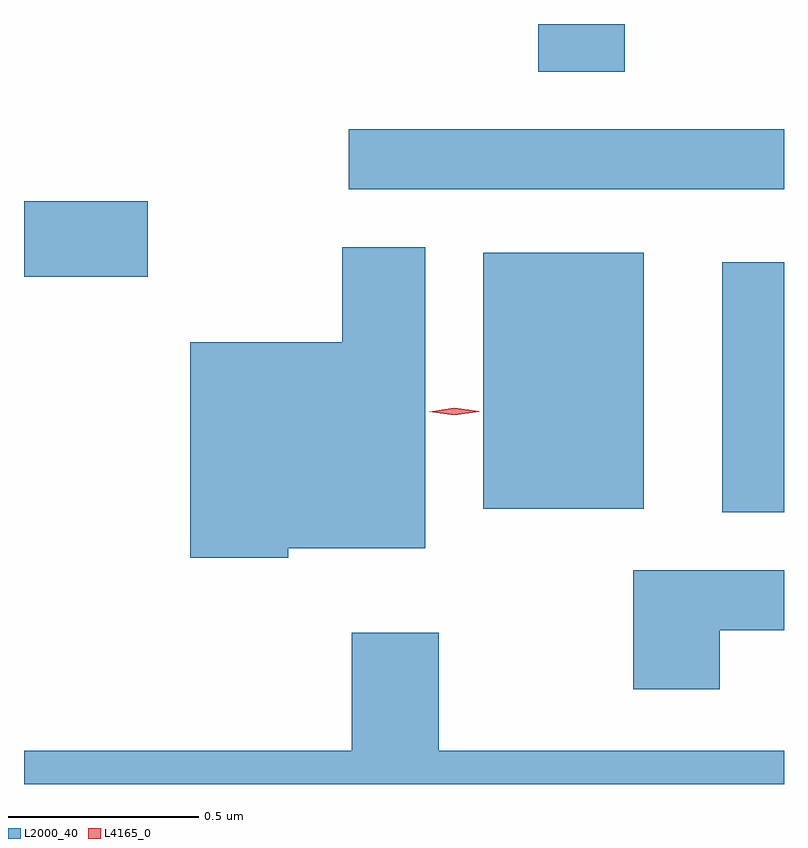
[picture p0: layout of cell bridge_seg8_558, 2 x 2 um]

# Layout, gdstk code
import gdstk
lib = gdstk.Library(unit=1e-6, precision=1e-09)
def R(c, l, rs):  # rectangles x0, y0, x1, y1
    for r in rs: c.add(gdstk.rectangle(r[:2], r[2:], *l))
def P(c, l, *ps):  # polygons
    for p in ps: c.add(gdstk.Polygon(p, *l))
L2000_40 = (2000, 40)
L4165_0 = (4165, 0)

bridge_seg8_558 = lib.new_cell('bridge_seg8_558')
R(bridge_seg8_558, L2000_40, [(560.766,1861.731,560.928,1862.389), (560.136,1861.741,560.559,1862.414), (558.928,1862.351,559.254,1862.549), (559.783,1862.581,560.928,1862.739), (560.281,1862.891,560.509,1863.016)])
P(bridge_seg8_558, L2000_40, [(559.624,1861.636),(559.984,1861.636),(559.984,1862.429),(559.766,1862.429),(559.766,1862.179),(559.366,1862.179),(559.366,1861.611),(559.624,1861.611)],
  [(560.759,1861.421),(560.928,1861.421),(560.928,1861.579),(560.531,1861.579),(560.531,1861.266),(560.759,1861.266)],
  [(560.928,1861.104),(560.019,1861.104),(560.019,1861.414),(559.791,1861.414),(559.791,1861.104),(558.928,1861.104),(558.928,1861.016),(560.928,1861.016)])
P(bridge_seg8_558, L4165_0, [(560.06,1861.986),(559.994,1861.995),(559.994,1861.995),(559.994,1861.996),(560.06,1862.006),(560.126,1861.997),(560.126,1861.996),(560.126,1861.996)])

lib.write_gds('bridge_seg8_558.gds')
